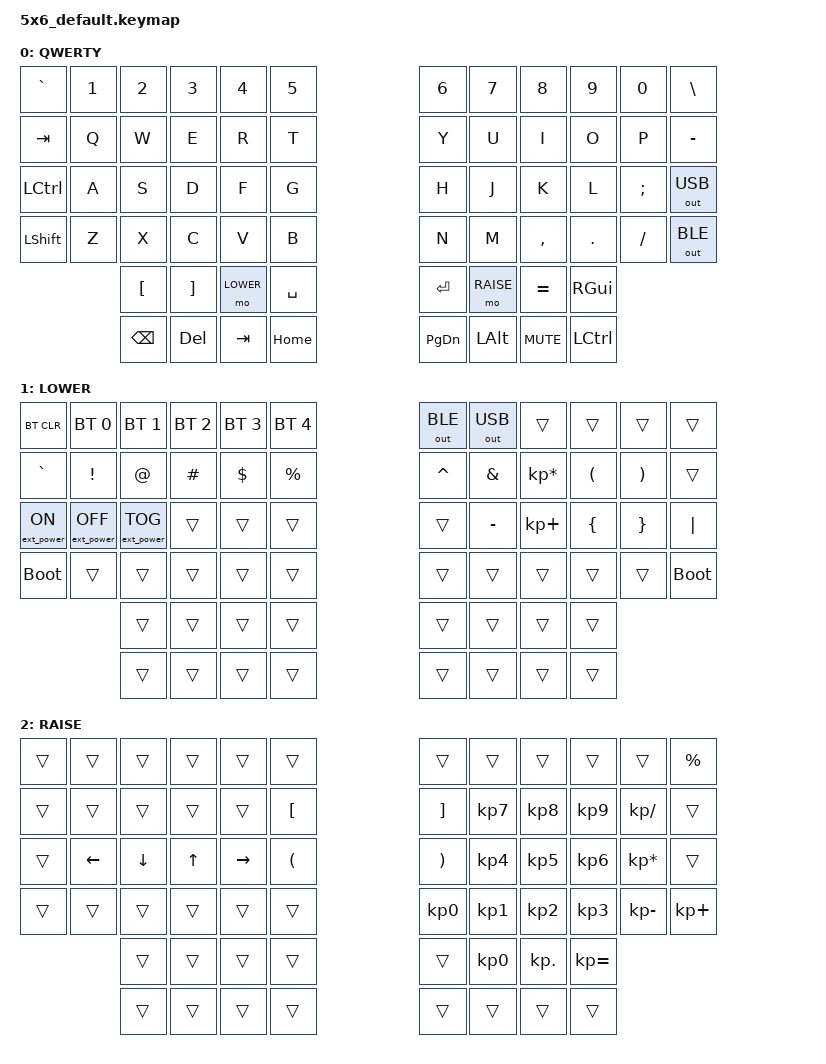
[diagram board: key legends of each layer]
#include <behaviors.dtsi>
#include <dt-bindings/zmk/keys.h>
#include <dt-bindings/zmk/bt.h>
#include <dt-bindings/zmk/ext_power.h>
#include <dt-bindings/zmk/outputs.h>

#define QWERTY 0
#define LOWER 1
#define RAISE 2

&sl {
    release-after-ms = <5000>;
};

&kscan0 {
    debounce-press-ms = <30>;
    debounce-release-ms = <30>;
};

/ {
	keymap {
		compatible = "zmk,keymap";

		default_layer {
			display-name = "QWERTY";
			bindings = <
&kp GRAVE &kp N1 &kp N2 &kp N3   &kp N4   &kp N5                     &kp N6 &kp N7   &kp N8    &kp N9  &kp N0   &kp BSLH
&kp TAB   &kp Q  &kp W  &kp E    &kp R    &kp T                      &kp Y  &kp U    &kp I     &kp O   &kp P    &kp MINUS
&kp LCTRL &kp A  &kp S  &kp D    &kp F    &kp G                      &kp H  &kp J    &kp K     &kp L   &kp SEMI &out OUT_USB
&kp LSHFT &kp Z  &kp X  &kp C    &kp V    &kp B                      &kp N  &kp M    &kp COMMA &kp DOT &kp FSLH &out OUT_BLE
                 &kp LBKT &kp RBKT &mo LOWER &kp SPACE       &kp ENTER  &mo RAISE    &kp EQUAL &kp RGUI
                    &kp BSPC  &kp DEL &kp TAB &kp HOME       &kp PG_DN  &kp LALT &kp K_MUTE &kp LCTRL
			>;
		};

		lower_layer {
			display-name = "LOWER";
			bindings = <
&bt BT_CLR &bt BT_SEL 0 &bt BT_SEL 1 &bt BT_SEL 2 &bt BT_SEL 3 &bt BT_SEL 4                  &out OUT_BLE &out OUT_USB  &trans  &trans  &trans  &trans
&kp GRAVE    &kp EXCL     &kp AT       &kp HASH     &kp DOLLAR    &kp PRCNT                  &kp CARET  &kp AMPS  &kp KP_MULTIPLY  &kp LPAR  &kp RPAR  &trans
&ext_power EP_ON  &ext_power EP_OFF  &ext_power EP_TOG  &trans &trans  &trans                &trans     &kp MINUS &kp KP_PLUS &kp LBRC &kp RBRC  &kp PIPE
&bootloader       &trans             &trans             &trans &trans   &trans               &trans     &trans    &trans      &trans   &trans    &bootloader
                                     &trans             &trans &trans   &trans               &trans     &trans    &trans      &trans
                                     &trans             &trans       &trans &trans      &trans &trans    &trans  &trans
			>;
		};

		raise_layer {
			display-name = "RAISE";
			bindings = <
&trans    &trans &trans &trans     &trans   &trans                   &trans &trans   &trans    &trans  &trans &kp PRCNT
&trans    &trans &trans &trans     &trans   &kp LBKT                 &kp RBKT  &kp KP_N7  &kp KP_N8  &kp KP_N9    &kp KP_DIVIDE  &trans
&trans    &kp LEFT  &kp DOWN &kp UP &kp RIGHT &kp LPAR               &kp RPAR  &kp KP_N4  &kp KP_N5  &kp KP_N6    &kp KP_MULTIPLY  &trans
&trans    &trans &trans &trans   &trans   &trans                     &kp KP_N0 &kp KP_N1  &kp KP_N2  &kp KP_N3    &kp KP_MINUS &kp KP_PLUS
                 &trans &trans       &trans   &trans              &trans    &kp KP_N0  &kp KP_DOT &kp KP_EQUAL
                        &trans &trans   &trans   &trans         &trans &trans     &trans    &trans
			>;
		};
	};
};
